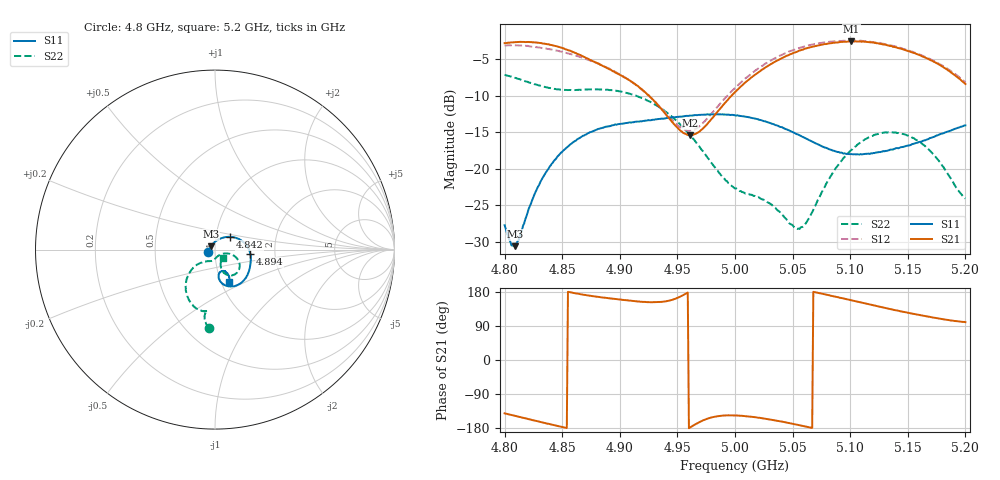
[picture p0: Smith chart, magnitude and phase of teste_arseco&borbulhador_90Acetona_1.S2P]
! Network Analyzer HP8722D
! Hewlett-Packard
! Data name: Linha & Wilkinson
! Saver's name: Rodrigo Anjos
! Comments: Teste da utilização de aquisição
! continua pelo VNA HP8722D
! Time and date: 17/4/2025 11:03
!  Frequency  S11  S21  S12  S22
# HZ  S  MA R 50
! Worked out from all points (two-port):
!   401 points, 4.8 GHz to 5.2 GHz, reference 50 ohm
!   highest |S21| = -2.58 dB at 5.101 GHz (marker M1); lowest = -15.4 dB at 4.961 GHz (marker M2)
!   |S21| within 3 dB of the highest: start of sweep to 4.881 GHz; 5.032 GHz to 5.175 GHz (142.8 MHz wide, 2.8 % of centre)
!   lowest |S11| = -30.6 dB at 4.809 GHz (marker M3), VSWR 1.06, Z = 47.8 + j1.85 ohm
!   |S11| at or under -10 dB: start of sweep to end of sweep
!   |S22| runs from -28.2 to -7.2 dB; largest |S21 - S12| = 0.084
!   S11 on the Smith chart (normalised r, x): 4.8 GHz: 0.92, -0.03; 4.842 GHz: 1.17, +0.17; 4.894 GHz: 1.49, -0.08; 5.2 GHz: 1.09, -0.41
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4.8e9  0.04118 -160.6  0.7223 -140.8  0.6978 -139.2  0.4379 -94.4
4.806e9  0.02998 163.4  0.7308 -145.1  0.6972 -143.2  0.426 -95.9
4.809e9  0.02962 139.3  0.733 -147.4  0.6975 -145.5  0.4185 -96.6
4.827e9  0.06988 62.8  0.7299 -160.4  0.6787 -157.0  0.3776 -98.8
4.842e9  0.1107 39.6  0.6971 -171.3  0.6481 -165.9  0.3537 -98.4
4.867e9  0.1659 13.8  0.5919 173.0  0.5758 -179.6  0.3471 -98.8
4.894e9  0.1984 -7.1  0.464 161.7  0.4693 167.6  0.3443 -107.4
4.934e9  0.2194 -27.9  0.2668 152.8  0.2701 159.7  0.2642 -128.3
4.952e9  0.2272 -35.7  0.1842 166.6  0.1938 173.7  0.203 -136.8
4.961e9  0.2311 -40.0  0.169 -178.3  0.1825 -171.7  0.1698 -139.5
4.972e9  0.2344 -45.3  0.1879 -159.7  0.2052 -155.0  0.1325 -140.2
5e9  0.2323 -59.8  0.3342 -146.4  0.3574 -144.0  0.07337 -119.6
5.027e9  0.2097 -73.0  0.4964 -155.5  0.5276 -153.7  0.0604 -97.4
5.054e9  0.1723 -81.6  0.6316 -171.0  0.6623 -170.3  0.03881 -60.2
5.06e9  0.1636 -82.4  0.6578 -174.7  0.6843 -174.3  0.04088 -42.7
5.067e9  0.1534 -82.6  0.6823 -179.3  0.7066 -179.1  0.05053 -27.4
5.083e9  0.1352 -80.5  0.721 169.7  0.7391 170.1  0.08897 -15.9
5.101e9  0.1261 -74.2  0.7433 157.5  0.751 157.9  0.1348 -22.4
5.117e9  0.1265 -69.2  0.7341 146.4  0.7389 147.1  0.1653 -33.6
5.134e9  0.1341 -65.2  0.6933 134.6  0.6998 135.8  0.1776 -46.8
5.165e9  0.1566 -62.1  0.5759 115.9  0.5829 117.2  0.1432 -68.2
5.2e9  0.1981 -66.6  0.3798 100.0  0.3904 101.2  0.06267 -46.5
